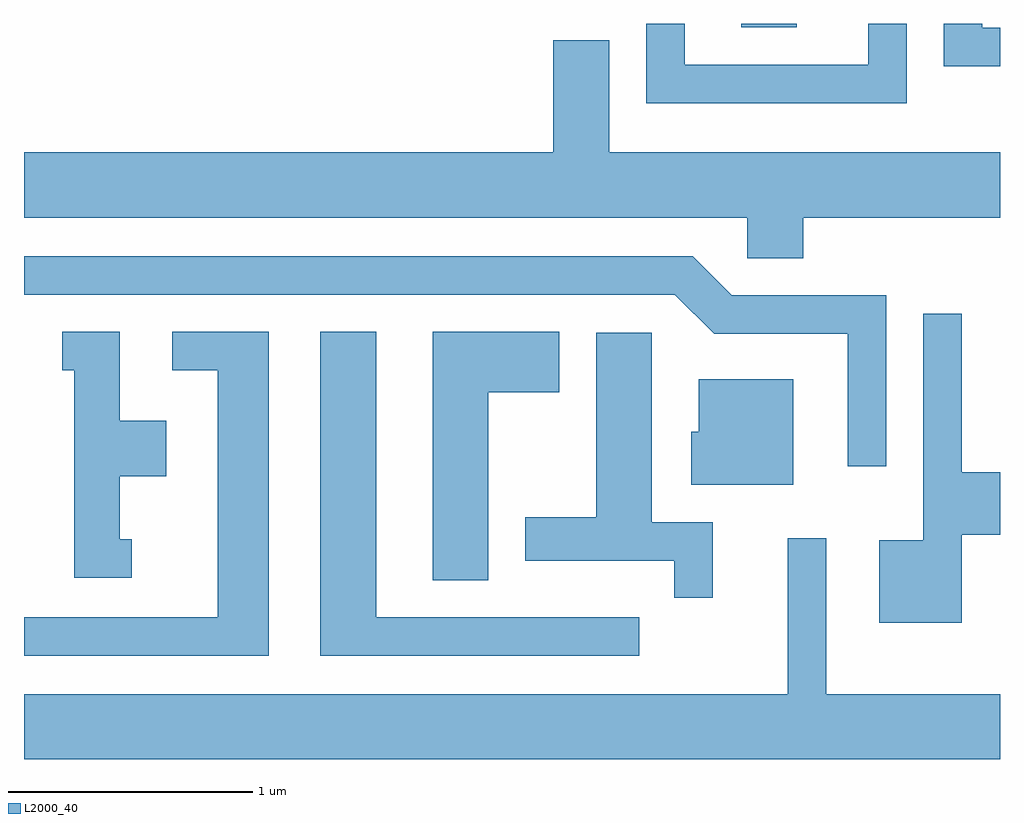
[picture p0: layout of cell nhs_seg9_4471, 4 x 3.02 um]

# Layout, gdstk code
import gdstk
lib = gdstk.Library(unit=1e-6, precision=1e-09)
def R(c, l, rs):  # rectangles x0, y0, x1, y1
    for r in rs: c.add(gdstk.rectangle(r[:2], r[2:], *l))
def P(c, l, *ps):  # polygons
    for p in ps: c.add(gdstk.Polygon(p, *l))
L2000_40 = (2000, 40)

nhs_seg9_4471 = lib.new_cell('nhs_seg9_4471')
R(nhs_seg9_4471, L2000_40, [(320.551,1950.416,320.779,1950.432)])
P(nhs_seg9_4471, L2000_40, [(321.229,1950.432),(321.071,1950.432),(321.071,1950.264),(320.319,1950.264),(320.319,1950.432),(320.161,1950.432),(320.161,1950.106),(321.229,1950.106)],
  [(321.611,1950.414),(321.539,1950.414),(321.539,1950.432),(321.381,1950.432),(321.381,1950.256),(321.611,1950.256)],
  [(320.804,1949.636),(321.611,1949.636),(321.611,1949.904),(320.009,1949.904),(320.009,1950.364),(319.781,1950.364),(319.781,1949.904),(317.611,1949.904),(317.611,1949.636),(320.576,1949.636),(320.576,1949.471),(320.804,1949.471)],
  [(321.144,1949.319),(320.512,1949.319),(320.352,1949.479),(317.611,1949.479),(317.611,1949.321),(320.279,1949.321),(320.439,1949.161),(320.986,1949.161),(320.986,1948.618),(321.144,1948.618)],
  [(321.454,1948.336),(321.611,1948.336),(321.611,1948.594),(321.454,1948.594),(321.454,1949.243),(321.296,1949.243),(321.296,1948.314),(321.116,1948.314),(321.116,1947.976),(321.454,1947.976)],
  [(320.133,1947.999),(319.054,1947.999),(319.054,1949.169),(318.826,1949.169),(318.826,1947.841),(320.133,1947.841)],
  [(319.514,1948.921),(319.804,1948.921),(319.804,1949.169),(319.286,1949.169),(319.286,1948.151),(319.514,1948.151)],
  [(318.614,1949.169),(318.218,1949.169),(318.218,1949.011),(318.406,1949.011),(318.406,1947.999),(317.611,1947.999),(317.611,1947.841),(318.614,1947.841)],
  [(318.053,1948.319),(318.004,1948.319),(318.004,1948.576),(318.194,1948.576),(318.194,1948.804),(318.004,1948.804),(318.004,1949.169),(317.768,1949.169),(317.768,1949.011),(317.816,1949.011),(317.816,1948.161),(318.053,1948.161)],
  [(320.434,1948.389),(320.184,1948.389),(320.184,1949.164),(319.956,1949.164),(319.956,1948.409),(319.666,1948.409),(319.666,1948.231),(320.276,1948.231),(320.276,1948.078),(320.434,1948.078)],
  [(320.764,1948.974),(320.376,1948.974),(320.376,1948.759),(320.346,1948.759),(320.346,1948.541),(320.764,1948.541)],
  [(321.611,1947.684),(320.899,1947.684),(320.899,1948.323),(320.741,1948.323),(320.741,1947.684),(317.611,1947.684),(317.611,1947.416),(321.611,1947.416)])

lib.write_gds('nhs_seg9_4471.gds')
